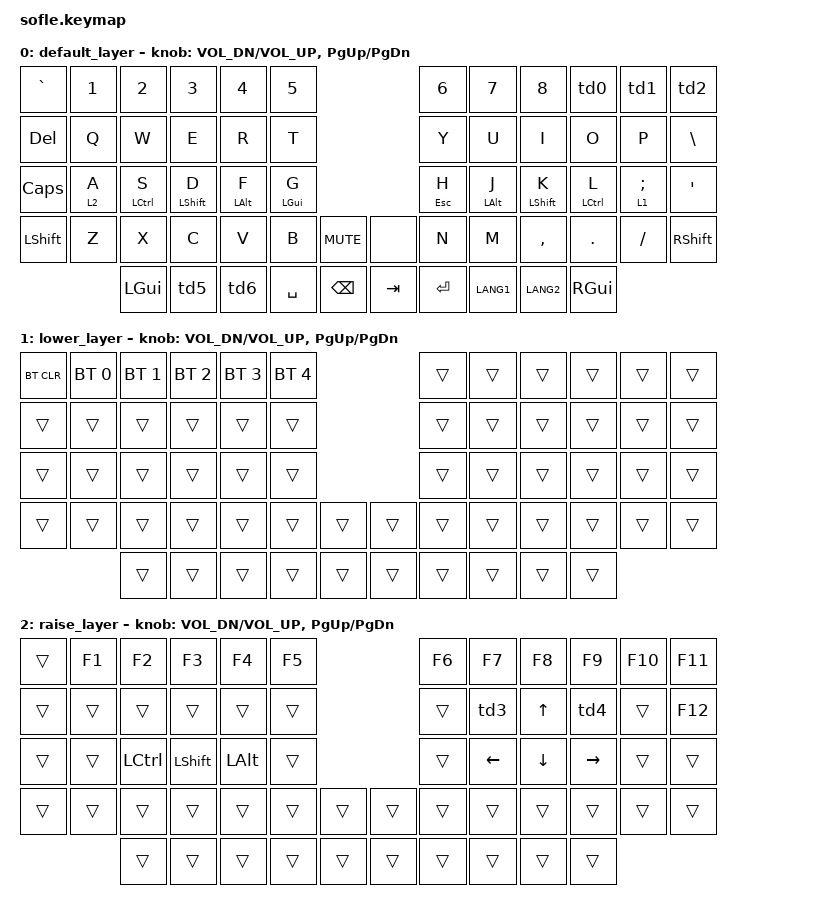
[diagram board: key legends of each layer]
/*
 * Copyright (c) 2020 The ZMK Contributors
 *
 * SPDX-License-Identifier: MIT
 */

#include <behaviors.dtsi>
#include <dt-bindings/zmk/keys.h>
#include <dt-bindings/zmk/bt.h>

&mt {
    quick-tap-ms = <200>;
    tapping-term-ms = <300>;
    flavor = "tap-preferred";
};

/ {
    behaviors {
        mot: behavior_mo_tap {
            compatible = "zmk,behavior-hold-tap";
            label = "MO_TAP";
            #binding-cells = <2>;
            flavor = "tap-preferred";
            tapping-term-ms = <300>;
            bindings = <&mo>, <&kp>;
        };
        td0: tap_dance_0 {
            compatible = "zmk,behavior-tap-dance";
            label = "TAP_DANCE_0";
            #binding-cells = <0>;
            tapping-term-ms = <200>;
            bindings = <&kp N9>, <&kp LBKT>;
        };
        td1: tap_dance_1 {
            compatible = "zmk,behavior-tap-dance";
            label = "TAP_DANCE_1";
            #binding-cells = <0>;
            tapping-term-ms = <200>;
            bindings = <&kp N0>, <&kp RBKT>;
        };
        td2: tap_dance_2 {
            compatible = "zmk,behavior-tap-dance";
            label = "TAP_DANCE_2";
            #binding-cells = <0>;
            tapping-term-ms = <200>;
            bindings = <&kp MINUS>, <&kp EQUAL>;
        };
        td3: tap_dance_3 {
            compatible = "zmk,behavior-tap-dance";
            label = "TAP_DANCE_3";
            #binding-cells = <0>;
            tapping-term-ms = <200>;
            bindings = <&kp HOME>, <&kp PG_UP>;
        };
        td4: tap_dance_4 {
            compatible = "zmk,behavior-tap-dance";
            label = "TAP_DANCE_4";
            #binding-cells = <0>;
            tapping-term-ms = <200>;
            bindings = <&kp END>, <&kp PG_DN>;
        };
        td5: tap_dance_5 {
            compatible = "zmk,behavior-tap-dance";
            label = "TAP_DANCE_5";
            #binding-cells = <0>;
            tapping-term-ms = <200>;
            bindings = <&kp LC(C)>, <&kp LC(X)>;
        };
        td6: tap_dance_6 {
            compatible = "zmk,behavior-tap-dance";
            label = "TAP_DANCE_6";
            #binding-cells = <0>;
            tapping-term-ms = <200>;
            bindings = <&kp LC(B)>, <&kp LC(V)>;
        };
    };

    keymap {
        compatible = "zmk,keymap";

        default_layer {
// ------------------------------------------------------------------------------------------------------------
// |  `    |  1       |  2           |  3           |  4         |  5         |                   |  6        |  7          |  8            |  td 9 [     |  td 0 ]     | td - =|
// |  DEL  |  Q       |  W           |  E           |  R         |  T         |                   |  Y        |  U          |  I            |  O          |   P         |   \   |
// |  CAPS |  mot 2 A |  mt LCTRL S  |  mt LSHIFT D |  mt LALT F |  mt LGUI G |                   |  mt ESC H |  mt LALT J  |  mt LSHIFT K  |  mt LCTRL L |   mot 1 ;   |   '   |
// | SHIFT |  Z       |  X           |  C           |  V         |  B         |  MUTE  |  |       |  N        |  M          |  ,            |  .          |   /         | SHIFT |
//                    | GUI          |  CTRL C / X  | CTRL B / V | SPACE      |  BKSPC |  | TAB   | ENTER     |  LANG1      |  LANG2        | GUI         |
            bindings = <
&kp GRAVE &kp N1    &kp N2       &kp N3       &kp N4      &kp N5                           &kp N6     &kp N7       &kp N8        &td0          &td1        &td2
&kp DEL   &kp Q     &kp W        &kp E        &kp R       &kp T                            &kp Y      &kp U        &kp I         &kp O         &kp P       &kp BACKSLASH
&kp CLCK  &mot 2 A  &mt LCTRL S  &mt LSHFT D  &mt LALT F  &mt LGUI G                       &mt ESC H  &mt LALT J   &mt LSHFT K   &mt LCTRL L   &mot 1 SEMI &kp SQT
&kp LSHFT &kp Z     &kp X        &kp C        &kp V       &kp B       &kp C_MUTE &none     &kp N      &kp M        &kp COMMA     &kp DOT       &kp FSLH    &kp RSHFT
                    &kp LGUI     &td5         &td6        &kp SPACE   &kp BSPC   &kp TAB   &kp RET    &kp LANG1    &kp LANG2     &kp RGUI
            >;

            sensor-bindings = <&inc_dec_kp C_VOL_DN C_VOL_UP &inc_dec_kp PG_UP PG_DN>;
        };

        lower_layer {
// ------------------------------------------------------------------------------------------------------------
// |BTCLR| BT1  | BT2  |  BT3  |  BT4  |  BT5 |                |      |      |       |      |       |       |
// |     |      |      |       |       |      |      |  |      |      |      |       |      |       |       |
// |     |      |      |       |       |      |      |  |      |      |      |       |      |       |       |
// |     |      |      |       |       |      |      |  |      |      |      |       |      |       |       |
//              |      |       |       |      |      |  |      |      |      |       |      |
            bindings = <
&bt BT_CLR &bt BT_SEL 0 &bt BT_SEL 1 &bt BT_SEL 2 &bt BT_SEL 3 &bt BT_SEL 4                &trans    &trans   &trans    &trans         &trans    &trans
&trans     &trans       &trans       &trans       &trans       &trans                      &trans    &trans   &trans    &trans         &trans    &trans
&trans     &trans       &trans       &trans       &trans       &trans                      &trans    &trans   &trans    &trans         &trans    &trans
&trans     &trans       &trans       &trans       &trans       &trans    &trans   &trans   &trans    &trans   &trans    &trans         &trans    &trans
                        &trans       &trans       &trans       &trans    &trans   &trans   &trans    &trans   &trans    &trans
            >;

            sensor-bindings = <&inc_dec_kp C_VOL_DN C_VOL_UP &inc_dec_kp PG_UP PG_DN>;
        };

        raise_layer {
// TODO: Some binds are waiting for shifted keycode support.
// ------------------------------------------------------------------------------------------------------------
// |    |  F1 |  F2 |  F3  |  F4  |  F5  |                   |  F6  |  F7        |  F8   |  F9         |  F10  |  F11  |
// |    |     |     |      |      |      |                   |      |td HOME PGUP|   ^   |td END PGDN  |       |  F12  |
// |    |     |LCTRL|LSHIFT| LALT |      |                   |      |   <-       |   v   |  ->         |       |       |
// |    |     |     |      |      |      |        |  |       |      |            |       |             |       |       |
//            |     |      |      |      |        |  |       |      |            |       |             |
            bindings = <
&trans    &kp F1    &kp F2    &kp F3      &kp F4    &kp F5                    &kp F6    &kp F7     &kp F8    &kp F9         &kp F10   &kp F11
&trans    &trans    &trans    &trans      &trans    &trans                    &trans    &td3       &kp UP    &td4           &trans    &kp F12
&trans    &trans    &kp LCTRL &kp LSHFT   &kp LALT  &trans                    &trans    &kp LEFT   &kp DOWN  &kp RIGHT      &trans    &trans
&trans    &trans    &trans    &trans      &trans    &trans  &trans   &trans   &trans    &trans     &trans    &trans         &trans    &trans
                    &trans    &trans      &trans    &trans  &trans   &trans   &trans    &trans     &trans    &trans
            >;

            sensor-bindings = <&inc_dec_kp C_VOL_DN C_VOL_UP &inc_dec_kp PG_UP PG_DN>;
        };
    };
};
